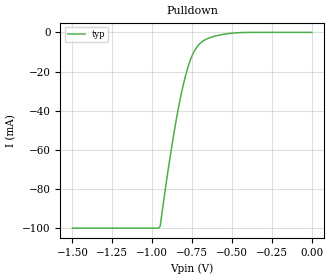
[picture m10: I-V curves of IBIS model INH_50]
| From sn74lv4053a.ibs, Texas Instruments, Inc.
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[Model]   INH_50
Model_type   Input
Vinl = 1.5
Vinh = 3.5
|   typ   min   max
C_comp   1pf   NA   NA
[Voltage Range]   5   NA   NA
[Temperature Range]   27   NA   NA
[Power Clamp Reference]   5   NA   NA
[GND Clamp Reference]   -0   NA   NA
[Pulldown]
|   Voltage   I(typ)   I(min)   I(max)
-1.5V     -100mA     NA         NA
-950mV    -99.01mA   NA         NA
-910mV    -75.71mA   NA         NA
-870mV    -54.57mA   NA         NA
-840mV    -40.53mA   NA         NA
-810mV    -28.51mA   NA         NA
-780mV    -18.87mA   NA         NA
-750mV    -11.9mA    NA         NA
-690mV    -4.927mA   NA         NA
-610mV    -1.992mA   NA         NA
-490mV    -347.4uA   NA         NA
0V        0A         NA         NA
